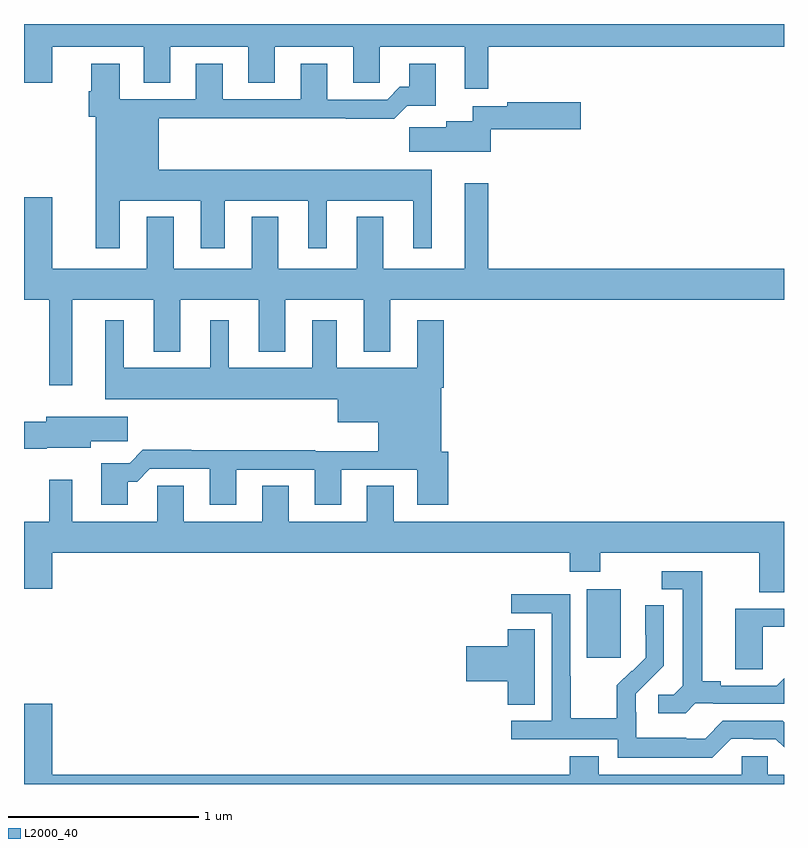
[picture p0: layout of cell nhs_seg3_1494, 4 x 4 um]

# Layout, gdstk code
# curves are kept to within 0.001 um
import gdstk
lib = gdstk.Library(unit=1e-6, precision=1e-09)
def R(c, l, rs):  # rectangles x0, y0, x1, y1
    for r in rs: c.add(gdstk.rectangle(r[:2], r[2:], *l))
def P(c, l, *ps):  # polygons
    for p in ps: c.add(gdstk.Polygon(p, *l))
L2000_40 = (2000, 40)

nhs_seg3_1494 = lib.new_cell('nhs_seg3_1494')
R(nhs_seg3_1494, L2000_40, [(191.963,667.065,192.142,667.426)])
P(nhs_seg3_1494, L2000_40, [(189,670.092),(189.148,670.092),(189.148,670.28),(189.629,670.28),(189.629,670.09),(189.769,670.09),(189.769,670.28),(190.181,670.28),(190.181,670.09),(190.321,670.09),(190.321,670.28),(190.733,670.28),(190.733,670.09),(190.872,670.09),(190.872,670.28),(191.321,670.28),(191.321,670.059),(191.443,670.059),(191.443,670.28),(193,670.28),(193,670.4),(189,670.4)],
  [(189.505,669.47),(189.929,669.47),(189.929,669.219),(190.057,669.219),(190.057,669.47),(190.496,669.47),(190.496,669.219),(190.594,669.219),(190.594,669.47),(191.048,669.47),(191.048,669.219),(191.146,669.219),(191.146,669.634),(189.709,669.634),(189.709,669.904),(190.693,669.904),(190.693,669.902),(190.949,669.902),(191.018,669.971),(191.167,669.971),(191.167,670.192),(191.027,670.192),(191.027,670.069),(190.978,670.069),(190.911,670.002),(190.597,670.002),(190.597,670.192),(190.457,670.192),(190.457,670.005),(190.045,670.005),(190.045,670.192),(189.905,670.192),(189.905,670.005),(189.505,670.005),(189.505,670.192),(189.353,670.192),(189.353,670.046),(189.341,670.046),(189.341,669.912),(189.377,669.912),(189.377,669.219),(189.505,669.219)],
  [(191.457,669.845),(191.929,669.845),(191.929,669.987),(191.544,669.987),(191.544,669.967),(191.361,669.967),(191.361,669.889),(191.222,669.889),(191.222,669.857),(191.028,669.857),(191.028,669.728),(191.457,669.728)],
  [(190.927,668.948),(193,668.948),(193,669.112),(191.443,669.112),(191.443,669.562),(191.321,669.562),(191.321,669.112),(190.891,669.112),(190.891,669.385),(190.751,669.385),(190.751,669.112),(190.339,669.112),(190.339,669.385),(190.199,669.385),(190.199,669.112),(189.787,669.112),(189.787,669.385),(189.647,669.385),(189.647,669.112),(189.148,669.112),(189.148,669.487),(189,669.487),(189,668.948),(189.132,668.948),(189.132,668.499),(189.253,668.499),(189.253,668.948),(189.683,668.948),(189.683,668.675),(189.823,668.675),(189.823,668.948),(190.235,668.948),(190.235,668.675),(190.375,668.675),(190.375,668.948),(190.787,668.948),(190.787,668.675),(190.927,668.675)],
  [(189.547,667.991),(189.596,667.991),(189.663,668.058),(189.977,668.058),(189.977,667.869),(190.117,667.869),(190.117,668.055),(190.529,668.055),(190.529,667.869),(190.669,667.869),(190.669,668.055),(191.069,668.055),(191.069,667.869),(191.234,667.869),(191.234,668.148),(191.197,668.148),(191.197,668.486),(191.21,668.486),(191.21,668.842),(191.069,668.842),(191.069,668.59),(190.645,668.59),(190.645,668.842),(190.517,668.842),(190.517,668.59),(190.078,668.59),(190.078,668.842),(189.98,668.842),(189.98,668.59),(189.526,668.59),(189.526,668.842),(189.428,668.842),(189.428,668.426),(190.652,668.426),(190.652,668.303),(190.865,668.303),(190.865,668.152),(190.533,668.152),(190.533,668.156),(189.881,668.156),(189.881,668.159),(189.626,668.159),(189.556,668.089),(189.407,668.089),(189.407,667.869),(189.547,667.869)],
  [(189.12,668.171),(189.352,668.171),(189.352,668.203),(189.547,668.203),(189.547,668.332),(189.116,668.332),(189.116,668.306),(189,668.306),(189,668.164),(189.12,668.164)],
  [(193,667.78),(190.945,667.78),(190.945,667.97),(190.805,667.97),(190.805,667.78),(190.393,667.78),(190.393,667.97),(190.253,667.97),(190.253,667.78),(189.841,667.78),(189.841,667.97),(189.702,667.97),(189.702,667.78),(189.253,667.78),(189.253,668.002),(189.132,668.002),(189.132,667.78),(189,667.78),(189,667.428),(189.148,667.428),(189.148,667.616),(191.873,667.616),(191.873,667.517),(192.033,667.517),(192.033,667.616),(192.869,667.616),(192.869,667.408),(193,667.408)],
  [(192.534,666.825),(192.628,666.825),(192.628,666.822),(193,666.822),(193,666.956),(192.962,666.918),(192.667,666.918),(192.667,666.941),(192.571,666.941),(192.571,667.521),(192.357,667.521),(192.357,667.425),(192.467,667.425),(192.467,666.917),(192.42,666.87),(192.339,666.87),(192.339,666.773),(192.482,666.773)],
  [(192.723,666.639),(192.839,666.639),(192.839,666.636),(192.957,666.636),(193,666.593),(193,666.725),(192.993,666.732),(192.678,666.732),(192.585,666.639),(192.485,666.639),(192.485,666.643),(192.222,666.643),(192.222,666.777),(192.22,666.777),(192.22,666.874),(192.366,667.022),(192.366,667.34),(192.27,667.34),(192.27,667.186),(192.272,667.186),(192.272,667.064),(192.201,666.993),(192.198,666.996),(192.121,666.919),(192.121,666.745),(191.877,666.745),(191.877,666.968),(191.874,666.968),(191.874,667.398),(191.565,667.398),(191.565,667.299),(191.778,667.299),(191.778,666.732),(191.565,666.732),(191.565,666.636),(192.126,666.636),(192.126,666.539),(192.623,666.539)],
  [(192.888,667.227),(193,667.227),(193,667.323),(192.743,667.323),(192.743,667.003),(192.888,667.003)],
  [(191.689,667.214),(191.546,667.214),(191.546,667.124),(191.328,667.124),(191.328,666.941),(191.546,666.941),(191.546,666.817),(191.689,666.817)],
  [(191.873,666.547),(191.873,666.448),(189.148,666.448),(189.148,666.823),(189,666.823),(189,666.4),(193,666.4),(193,666.448),(192.915,666.448),(192.915,666.546),(192.777,666.546),(192.777,666.448),(192.025,666.448),(192.025,666.547)])

lib.write_gds('nhs_seg3_1494.gds')
